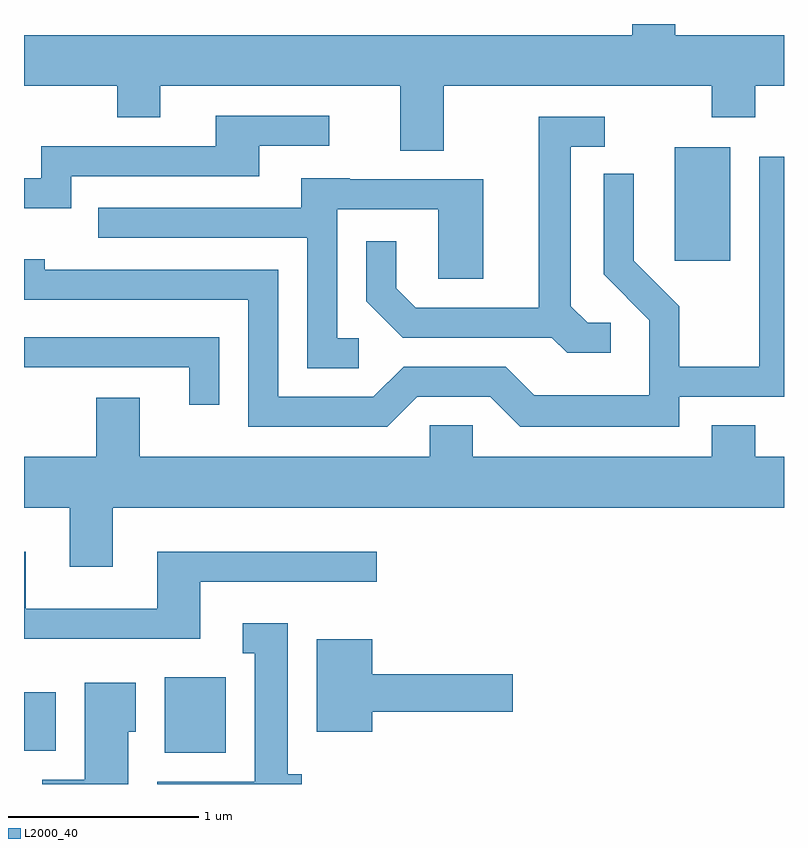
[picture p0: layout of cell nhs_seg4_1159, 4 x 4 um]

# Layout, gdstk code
import gdstk
lib = gdstk.Library(unit=1e-6, precision=1e-09)
def R(c, l, rs):  # rectangles x0, y0, x1, y1
    for r in rs: c.add(gdstk.rectangle(r[:2], r[2:], *l))
def P(c, l, *ps):  # polygons
    for p in ps: c.add(gdstk.Polygon(p, *l))
L2000_40 = (2000, 40)

nhs_seg4_1159 = lib.new_cell('nhs_seg4_1159')
R(nhs_seg4_1159, L2000_40, [(220.351,1260.146,220.674,1260.544), (219.611,1260.156,219.779,1260.464), (223.036,1262.736,223.329,1263.334)])
P(nhs_seg4_1159, L2000_40, [(221.819,1263.656),(223.231,1263.656),(223.231,1263.491),(223.459,1263.491),(223.459,1263.656),(223.611,1263.656),(223.611,1263.924),(223.039,1263.924),(223.039,1263.982),(222.811,1263.982),(222.811,1263.924),(219.611,1263.924),(219.611,1263.656),(220.101,1263.656),(220.101,1263.491),(220.329,1263.491),(220.329,1263.656),(221.591,1263.656),(221.591,1263.316),(221.819,1263.316)],
  [(219.859,1263.181),(220.849,1263.181),(220.849,1263.341),(221.218,1263.341),(221.218,1263.499),(220.621,1263.499),(220.621,1263.339),(219.701,1263.339),(219.701,1263.169),(219.611,1263.169),(219.611,1263.011),(219.859,1263.011)],
  [(222.698,1262.409),(222.577,1262.409),(222.489,1262.497),(222.489,1263.336),(222.668,1263.336),(222.668,1263.494),(222.321,1263.494),(222.321,1262.489),(221.672,1262.489),(221.569,1262.592),(221.569,1262.838),(221.411,1262.838),(221.411,1262.524),(221.604,1262.331),(222.389,1262.331),(222.469,1262.251),(222.698,1262.251)],
  [(221.682,1262.021),(222.064,1262.021),(222.224,1261.861),(223.059,1261.861),(223.059,1262.021),(223.611,1262.021),(223.611,1263.284),(223.481,1263.284),(223.481,1262.179),(223.059,1262.179),(223.059,1262.497),(222.819,1262.737),(222.819,1263.193),(222.661,1263.193),(222.661,1262.664),(222.901,1262.424),(222.901,1262.029),(222.297,1262.029),(222.147,1262.179),(221.609,1262.179),(221.449,1262.019),(220.949,1262.019),(220.949,1262.689),(219.719,1262.689),(219.719,1262.744),(219.611,1262.744),(219.611,1262.531),(220.791,1262.531),(220.791,1261.861),(221.522,1261.861)],
  [(221.373,1262.329),(221.259,1262.329),(221.259,1263.006),(221.791,1263.006),(221.791,1262.641),(222.029,1262.641),(222.029,1263.164),(221.325,1263.164),(221.325,1263.169),(221.071,1263.169),(221.071,1263.014),(220.003,1263.014),(220.003,1262.856),(221.101,1262.856),(221.101,1262.171),(221.373,1262.171)],
  [(220.639,1262.334),(219.611,1262.334),(219.611,1262.176),(220.481,1262.176),(220.481,1261.978),(220.639,1261.978)],
  [(220.079,1261.436),(223.611,1261.436),(223.611,1261.704),(223.459,1261.704),(223.459,1261.869),(223.231,1261.869),(223.231,1261.704),(221.974,1261.704),(221.974,1261.869),(221.746,1261.869),(221.746,1261.704),(220.219,1261.704),(220.219,1262.014),(219.991,1262.014),(219.991,1261.704),(219.611,1261.704),(219.611,1261.436),(219.851,1261.436),(219.851,1261.126),(220.079,1261.126)],
  [(220.539,1261.046),(221.468,1261.046),(221.468,1261.204),(220.311,1261.204),(220.311,1260.904),(219.619,1260.904),(219.619,1261.204),(219.611,1261.204),(219.611,1260.746),(220.539,1260.746)],
  [(221.074,1260.034),(220.999,1260.034),(220.999,1260.829),(220.763,1260.829),(220.763,1260.671),(220.826,1260.671),(220.826,1259.994),(220.311,1259.994),(220.311,1259.982),(221.074,1259.982)],
  [(221.444,1260.361),(222.184,1260.361),(222.184,1260.559),(221.444,1260.559),(221.444,1260.744),(221.151,1260.744),(221.151,1260.256),(221.444,1260.256)],
  [(220.159,1260.256),(220.199,1260.256),(220.199,1260.514),(219.931,1260.514),(219.931,1260.004),(219.706,1260.004),(219.706,1259.982),(220.159,1259.982)])

lib.write_gds('nhs_seg4_1159.gds')
